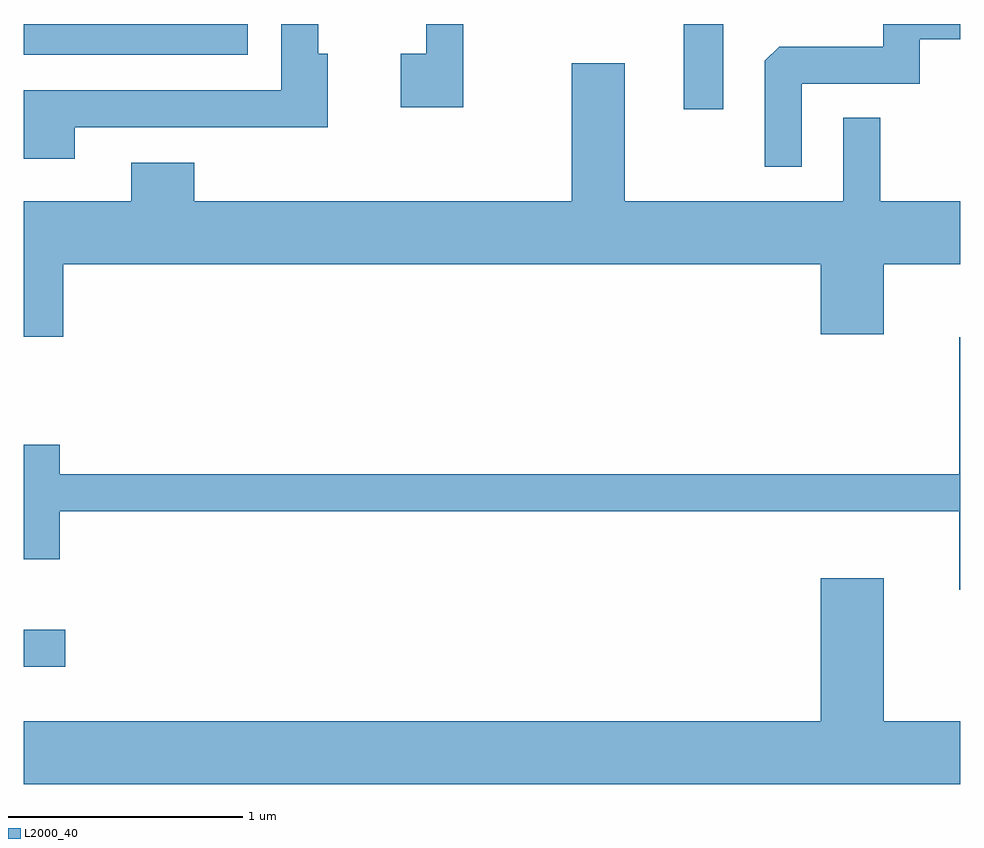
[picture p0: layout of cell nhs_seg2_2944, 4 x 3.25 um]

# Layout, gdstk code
import gdstk
lib = gdstk.Library(unit=1e-6, precision=1e-09)
def R(c, l, rs):  # rectangles x0, y0, x1, y1
    for r in rs: c.add(gdstk.rectangle(r[:2], r[2:], *l))
def P(c, l, *ps):  # polygons
    for p in ps: c.add(gdstk.Polygon(p, *l))
L2000_40 = (2000, 40)

nhs_seg2_2944 = lib.new_cell('nhs_seg2_2944')
R(nhs_seg2_2944, L2000_40, [(271.611,1031.056,271.788,1031.214), (274.431,1033.438,274.599,1033.802), (271.611,1033.671,272.568,1033.802)])
P(nhs_seg2_2944, L2000_40, [(274.934,1033.546),(275.439,1033.546),(275.439,1033.736),(275.611,1033.736),(275.611,1033.802),(275.281,1033.802),(275.281,1033.704),(274.837,1033.704),(274.776,1033.644),(274.776,1033.193),(274.934,1033.193)],
  [(271.829,1033.361),(272.909,1033.361),(272.909,1033.674),(272.869,1033.674),(272.869,1033.802),(272.711,1033.802),(272.711,1033.519),(271.611,1033.519),(271.611,1033.226),(271.829,1033.226)],
  [(273.489,1033.802),(273.331,1033.802),(273.331,1033.674),(273.221,1033.674),(273.221,1033.446),(273.489,1033.446)],
  [(271.779,1032.776),(275.016,1032.776),(275.016,1032.476),(275.284,1032.476),(275.284,1032.776),(275.611,1032.776),(275.611,1033.044),(275.269,1033.044),(275.269,1033.402),(275.111,1033.402),(275.111,1033.044),(274.179,1033.044),(274.179,1033.634),(273.951,1033.634),(273.951,1033.044),(272.339,1033.044),(272.339,1033.209),(272.071,1033.209),(272.071,1033.044),(271.611,1033.044),(271.611,1032.466),(271.779,1032.466)],
  [(275.611,1032.464),(275.606,1032.464),(275.606,1031.879),(271.764,1031.879),(271.764,1032.004),(271.611,1032.004),(271.611,1031.516),(271.764,1031.516),(271.764,1031.721),(275.606,1031.721),(275.606,1031.386),(275.611,1031.386)],
  [(275.611,1030.824),(275.284,1030.824),(275.284,1031.434),(275.016,1031.434),(275.016,1030.824),(271.611,1030.824),(271.611,1030.556),(275.611,1030.556)])

lib.write_gds('nhs_seg2_2944.gds')
